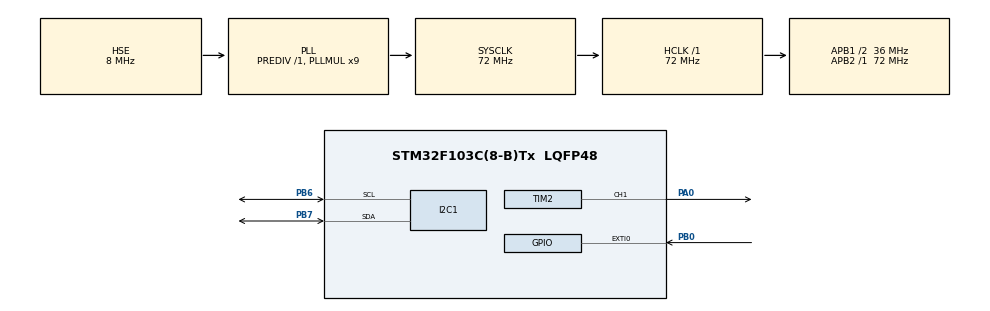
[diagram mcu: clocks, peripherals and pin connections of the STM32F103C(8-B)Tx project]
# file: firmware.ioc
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Mcu.Family=STM32F1
RCC.PLLSourceVirtual=RCC_PLLSOURCE_HSE
PD1-OSC_OUT.Mode=HSE-External-Oscillator
NVIC.TIM1_UP_IRQn=true\:0\:0\:false\:false\:true\:false\:true
PD0-OSC_IN.Signal=RCC_OSC_IN
RCC.APB1CLKDivider=RCC_HCLK_DIV2
RCC.SYSCLKSource=RCC_SYSCLKSOURCE_PLLCLK
ProjectManager.StackSize=0x400
PA0-WKUP.Signal=S_TIM2_CH1_ETR
PD1-OSC_OUT.Signal=RCC_OSC_OUT
PA13.Signal=SYS_JTMS-SWDIO
ProjectManager.TargetToolchain=STM32CubeIDE
RCC.HCLKFreq_Value=72000000
RCC.APB2TimFreq_Value=72000000
PB6.Signal=I2C1_SCL
PB6.Mode=I2C
RCC.USBFreq_Value=72000000
RCC.AHBFreq_Value=72000000
PD0-OSC_IN.Mode=HSE-External-Oscillator
board=custom
RCC.PLLMUL=RCC_PLL_MUL9
RCC.APB2Freq_Value=72000000
PA14.Mode=Serial_Wire
VP_SYS_VS_tim1.Mode=TIM1
PB7.Signal=I2C1_SDA
TIM2.Channel-PWM\ Generation1\ CH1=TIM_CHANNEL_1
TIM2.Period=99
PA13.Mode=Serial_Wire
Mcu.Name=STM32F103C(8-B)Tx
NVIC.EXTI0_IRQn=true\:5\:0\:true\:false\:true\:true\:true
RCC.SYSCLKFreq_VALUE=72000000
Mcu.Package=LQFP48
TIM2.Prescaler=71
NVIC.TimeBase=TIM1_UP_IRQn
PB7.Mode=I2C
SH.S_TIM2_CH1_ETR.0=TIM2_CH1,PWM Generation1 CH1
NVIC.TimeBaseIP=TIM1
PA14.Signal=SYS_JTCK-SWCLK
ProjectManager.HeapSize=0x200
NVIC.PriorityGroup=NVIC_PRIORITYGROUP_4
RCC.APB1TimFreq_Value=72000000
TIM2.AutoReloadPreload=TIM_AUTORELOAD_PRELOAD_ENABLE
RCC.APB1Freq_Value=36000000
PB0.Signal=GPXTI0

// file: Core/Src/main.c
/* USER CODE BEGIN Header */
/**
  ******************************************************************************
  * @file           : main.c
  * @brief          : Main program body
  ******************************************************************************
  * @attention
  *
  * <h2><center>&copy; Copyright (c) 2025 STMicroelectronics.
  * All rights reserved.</center></h2>
  *
  * This software component is licensed by ST under BSD 3-Clause license,
  * the "License"; You may not use this file except in compliance with the
  * License. You may obtain a copy of the License at:
  *                        opensource.org/licenses/BSD-3-Clause
  *
  ******************************************************************************
  */
/* USER CODE END Header */
#include <lcd.h>
#include "main.h"
#include "FreeRTOS.h"
#include "task.h"
#include "semphr.h"
#include <string.h>

/* USER CODE BEGIN PM */

// Handle del semáforo counting
SemaphoreHandle_t semphrCounting;

/* USER CODE END PM */

I2C_HandleTypeDef hi2c1;

TIM_HandleTypeDef htim2;

void SystemClock_Config(void);
static void MX_GPIO_Init(void);
static void MX_I2C1_Init(void);
static void MX_TIM2_Init(void);

/* USER CODE BEGIN 0 */

void Set_PWM_Frequency(TIM_HandleTypeDef *htim, uint32_t freq)
{
    uint32_t timer_clk = 72000000; // 72 MHz
    uint32_t prescaler = 71;       // Dividir por 72
    uint32_t arr;

    // Calculamos el ARR para la frecuencia deseada
    arr = (timer_clk / ((prescaler + 1) * freq)) - 1; //Counter Period (ARR) Si f=10Khz --> arr=99

    // Paramos el timer
    HAL_TIM_PWM_Stop(htim, TIM_CHANNEL_1);

    // Actualizamos prescaler y period
    htim->Instance->PSC = prescaler;
    htim->Instance->ARR = arr;

    // Opcional: actualizar CCR para mantener duty al 50%
    htim->Instance->CCR1 = (arr + 1) / 2;

    // Reiniciamos el contador y arrancamos de nuevo
    HAL_TIM_PWM_Start(htim, TIM_CHANNEL_1);
}

void Tarea_Contador(void *params)
{
    TickType_t tiempo_ms = xTaskGetTickCount();
    uint32_t contador = 0;
    char lcd_buffer[30];

    while(1)
    {
        if (xTaskGetTickCount() - tiempo_ms >= pdMS_TO_TICKS(1000))
        {
            contador = 0;
            contador=uxSemaphoreGetCount(semphrCounting);
            snprintf(lcd_buffer, sizeof(lcd_buffer), "%d Hz", contador);
            lcd_set_cursor(0,0);
            lcd_string(lcd_buffer);

            tiempo_ms = xTaskGetTickCount();
            xQueueReset(semphrCounting);
        }
    }
}
/* USER CODE END 0 */

int main(void)
{

  /* MCU Configuration--------------------------------------------------------*/

  /* Reset of all peripherals, Initializes the Flash interface and the Systick. */
  HAL_Init();

  /* Configure the system clock */
  SystemClock_Config();

  /* Initialize all configured peripherals */
  MX_GPIO_Init();
  MX_I2C1_Init();
  MX_TIM2_Init();
  lcd_init(&hi2c1, 0x27); //inicializo lcd

  /* USER CODE BEGIN 2 */

  Set_PWM_Frequency(&htim2, 10000); // Seteo PWM en 10 kHz
    HAL_TIM_PWM_Start(&htim2, TIM_CHANNEL_1);

    // Crear semáforo counting con capacidad 20000, contador inicial 0
    semphrCounting = xSemaphoreCreateCounting(20000, 0);

    // Crear tarea
    xTaskCreate(Tarea_Contador, "", configMINIMAL_STACK_SIZE, NULL, 1, NULL);

    // Iniciar scheduler
    vTaskStartScheduler();
  /* USER CODE END 2 */

  /* Infinite loop */
  while (1)
  {

  }
}
void EXTI0_IRQHandler(void)
{
    BaseType_t xHigherPriorityTaskWoken = pdFALSE;

    xSemaphoreGiveFromISR(semphrCounting, &xHigherPriorityTaskWoken);
     portYIELD_FROM_ISR(xHigherPriorityTaskWoken);

    HAL_GPIO_EXTI_IRQHandler(GPIO_PIN_0);
}

void SystemClock_Config(void)
{
  RCC_OscInitTypeDef RCC_OscInitStruct = {0};
  RCC_ClkInitTypeDef RCC_ClkInitStruct = {0};

  /** Initializes the RCC Oscillators according to the specified parameters
  * in the RCC_OscInitTypeDef structure.
  */
  RCC_OscInitStruct.OscillatorType = RCC_OSCILLATORTYPE_HSE;
  RCC_OscInitStruct.HSEState = RCC_HSE_ON;
  RCC_OscInitStruct.HSEPredivValue = RCC_HSE_PREDIV_DIV1;
  RCC_OscInitStruct.HSIState = RCC_HSI_ON;
  RCC_OscInitStruct.PLL.PLLState = RCC_PLL_ON;
  RCC_OscInitStruct.PLL.PLLSource = RCC_PLLSOURCE_HSE;
  RCC_OscInitStruct.PLL.PLLMUL = RCC_PLL_MUL9;
  if (HAL_RCC_OscConfig(&RCC_OscInitStruct) != HAL_OK)
  {
    Error_Handler();
  }
  /** Initializes the CPU, AHB and APB buses clocks
  */
  RCC_ClkInitStruct.ClockType = RCC_CLOCKTYPE_HCLK|RCC_CLOCKTYPE_SYSCLK
                              |RCC_CLOCKTYPE_PCLK1|RCC_CLOCKTYPE_PCLK2;
  RCC_ClkInitStruct.SYSCLKSource = RCC_SYSCLKSOURCE_PLLCLK;
  RCC_ClkInitStruct.AHBCLKDivider = RCC_SYSCLK_DIV1;
  RCC_ClkInitStruct.APB1CLKDivider = RCC_HCLK_DIV2;
  RCC_ClkInitStruct.APB2CLKDivider = RCC_HCLK_DIV1;

  if (HAL_RCC_ClockConfig(&RCC_ClkInitStruct, FLASH_LATENCY_2) != HAL_OK)
  {
    Error_Handler();
  }
}

static void MX_I2C1_Init(void)
{

  hi2c1.Instance = I2C1;
  hi2c1.Init.ClockSpeed = 100000;
  hi2c1.Init.DutyCycle = I2C_DUTYCYCLE_2;
  hi2c1.Init.OwnAddress1 = 0;
  hi2c1.Init.AddressingMode = I2C_ADDRESSINGMODE_7BIT;
  hi2c1.Init.DualAddressMode = I2C_DUALADDRESS_DISABLE;
  hi2c1.Init.OwnAddress2 = 0;
  hi2c1.Init.GeneralCallMode = I2C_GENERALCALL_DISABLE;
  hi2c1.Init.NoStretchMode = I2C_NOSTRETCH_DISABLE;
  if (HAL_I2C_Init(&hi2c1) != HAL_OK)
  {
    Error_Handler();
  }

}

static void MX_TIM2_Init(void)
{

  TIM_MasterConfigTypeDef sMasterConfig = {0};
  TIM_OC_InitTypeDef sConfigOC = {0};

  htim2.Instance = TIM2;
  htim2.Init.Prescaler = 71;
  htim2.Init.CounterMode = TIM_COUNTERMODE_UP;
  htim2.Init.Period = 99;
  htim2.Init.ClockDivision = TIM_CLOCKDIVISION_DIV1;
  htim2.Init.AutoReloadPreload = TIM_AUTORELOAD_PRELOAD_ENABLE;
  if (HAL_TIM_PWM_Init(&htim2) != HAL_OK)
  {
    Error_Handler();
  }
  sMasterConfig.MasterOutputTrigger = TIM_TRGO_RESET;
  sMasterConfig.MasterSlaveMode = TIM_MASTERSLAVEMODE_DISABLE;
  if (HAL_TIMEx_MasterConfigSynchronization(&htim2, &sMasterConfig) != HAL_OK)
  {
    Error_Handler();
  }
  sConfigOC.OCMode = TIM_OCMODE_PWM1;
  sConfigOC.Pulse = 0;
  sConfigOC.OCPolarity = TIM_OCPOLARITY_HIGH;
  sConfigOC.OCFastMode = TIM_OCFAST_DISABLE;
  if (HAL_TIM_PWM_ConfigChannel(&htim2, &sConfigOC, TIM_CHANNEL_1) != HAL_OK)
  {
    Error_Handler();
  }
  HAL_TIM_MspPostInit(&htim2);

}

static void MX_GPIO_Init(void)
{
  GPIO_InitTypeDef GPIO_InitStruct = {0};

  /* GPIO Ports Clock Enable */
  __HAL_RCC_GPIOD_CLK_ENABLE();
  __HAL_RCC_GPIOA_CLK_ENABLE();
  __HAL_RCC_GPIOB_CLK_ENABLE();

  /*Configure GPIO pin : PB0 */
  GPIO_InitStruct.Pin = GPIO_PIN_0;
  GPIO_InitStruct.Mode = GPIO_MODE_IT_RISING;
  GPIO_InitStruct.Pull = GPIO_NOPULL;
  HAL_GPIO_Init(GPIOB, &GPIO_InitStruct);

  /* EXTI interrupt init*/
  HAL_NVIC_SetPriority(EXTI0_IRQn, 5, 0);
  HAL_NVIC_EnableIRQ(EXTI0_IRQn);

}

 /**
  * @brief  Period elapsed callback in non blocking mode
  * @note   This function is called  when TIM1 interrupt took place, inside
  * HAL_TIM_IRQHandler(). It makes a direct call to HAL_IncTick() to increment
  * a global variable "uwTick" used as application time base.
  * @param  htim : TIM handle
  * @retval None
  */
void HAL_TIM_PeriodElapsedCallback(TIM_HandleTypeDef *htim)
{
  if (htim->Instance == TIM1) {
    HAL_IncTick();
  }
}

void Error_Handler(void)
{
  __disable_irq();
  while (1)
  {
  }
}

/************************ (C) COPYRIGHT STMicroelectronics *****END OF FILE****/
